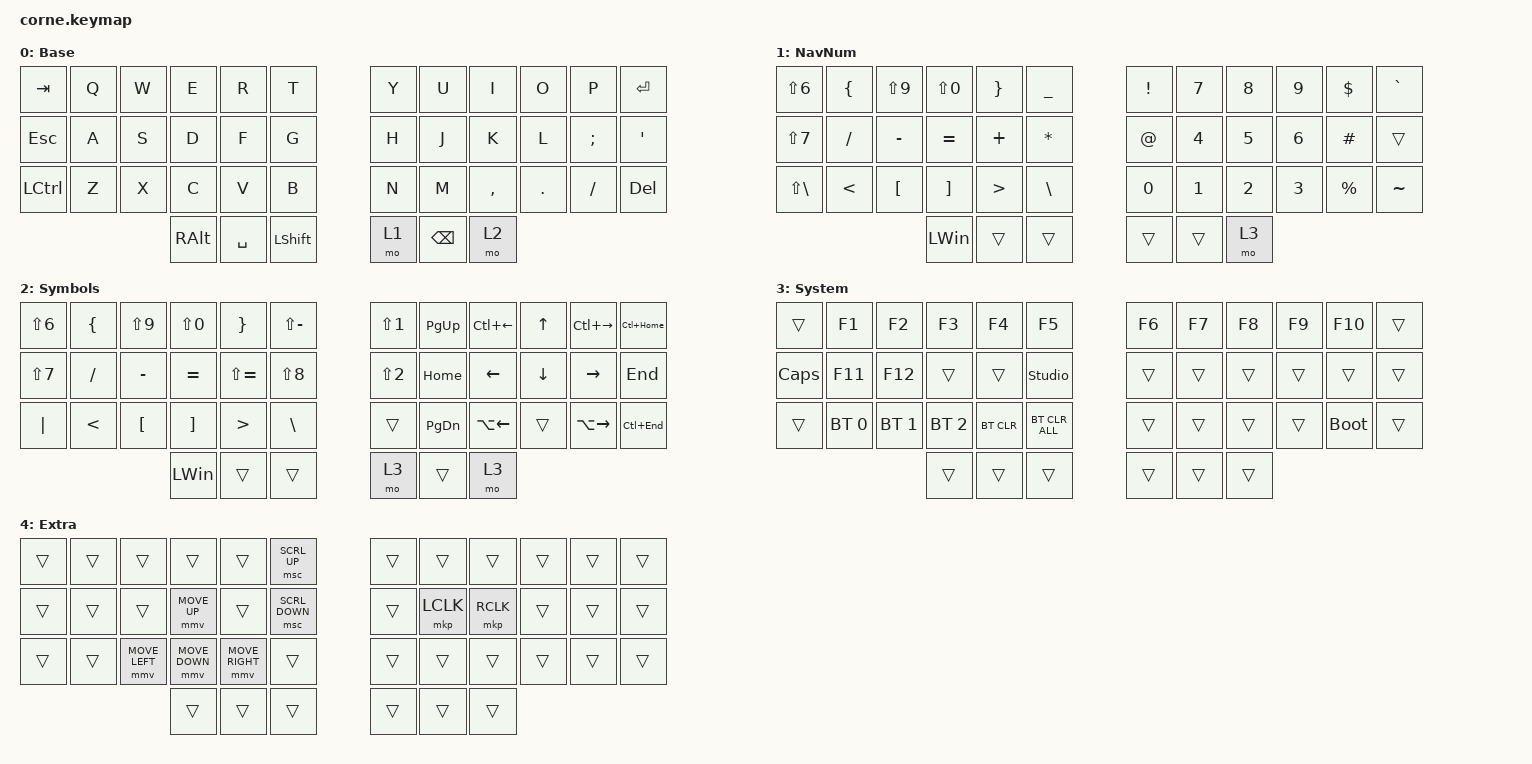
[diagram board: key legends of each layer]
#include <behaviors.dtsi>
#include <dt-bindings/zmk/bt.h>
#include <dt-bindings/zmk/keys.h>
#include <dt-bindings/zmk/pointing.h>

#define DEF 0
#define NAV 1
#define SYM 2
#define ADJ 3
#define EXTRA 4

/ {
    behaviors {
        hm: homerow_mods {
            compatible = "zmk,behavior-hold-tap";
            #binding-cells = <2>;
            tapping-term-ms = <200>;
            flavor = "tap-preferred";
            bindings = <&kp>, <&kp>;

            quick-tap-ms = <180>;
            require-prior-idle-ms = <120>; /* tune to taste */
        };

        para: para {
            compatible = "zmk,behavior-tap-dance";
            #binding-cells = <0>;
            bindings = <&kp LEFT_PARENTHESIS>, <&kp RIGHT_PARENTHESIS>;
        };

        caps: caps {
            compatible = "zmk,behavior-caps-word";
            #binding-cells = <0>;
            continue-list = <MINUS BACKSPACE>;
        };

        paraless: paraless {
            compatible = "zmk,behavior-mod-morph";
            bindings = <&kp LEFT_PARENTHESIS>, <&kp LESS_THAN>;

            #binding-cells = <0>;
            mods = <(MOD_LSFT)>;
        };

        paragreat: paragreat {
            compatible = "zmk,behavior-mod-morph";
            bindings = <&kp RIGHT_PARENTHESIS>, <&kp GREATER_THAN>;

            #binding-cells = <0>;
            mods = <(MOD_LSFT)>;
        };

        hml: homerow_mods_left {
            compatible = "zmk,behavior-hold-tap";
            #binding-cells = <2>;
            tapping-term-ms = <300>;
            flavor = "tap-preferred";
            bindings = <&kp>, <&kp>;

            quick-tap-ms = <180>;
            require-prior-idle-ms = <180>;
            hold-trigger-key-positions = <6 7 8 9 10 11 20 18 19 20 21 22 23 32 30 31 32 33 34 35 39 40 41>;
            #hold-trigger-on-release;
        };

        hmr: homerow_mods_right {
            compatible = "zmk,behavior-hold-tap";
            #binding-cells = <2>;
            tapping-term-ms = <300>;
            flavor = "tap-preferred";
            bindings = <&kp>, <&kp>;

            quick-tap-ms = <180>;
            require-prior-idle-ms = <180>;
            #hold-trigger-on-release;
            hold-trigger-key-positions = <0 1 2 4 5 12 13 14 15 16 17 24 25 26 27 28 29 36 37 38 3>;
        };
    };

    macros {
        browsertab: browsertab {
            compatible = "zmk,behavior-macro";
            #binding-cells = <0>;
            bindings =
                <&macro_press>,
                <&kp LCTRL>,
                <&macro_tap>,
                <&kp TAB>,
                <&macro_release>,
                <&kp LCTRL>;
        };
    };

    combos { compatible = "zmk,combos"; };

    //

    keymap {
        compatible = "zmk,keymap";

        Base {
            display-name = "Base";

            // -----------------------------------------------------------------------------------------
            // |  Q  |  W  |  E  |  R  |  T  |   |  Y  |  U   |  I  |  O  |  P  |
            // |  A  |  S  |  D  |  F  |  G  |   |  H  |  J   |  K  |  L  |  ;  |
            // |  Z  |  X  |  C  |  V  |  B  |   |  N  |  M   |  ,  |  .  |  /  |
            // | GUI | CTRL | SHFT | LWR | SPC |   | ENT | RSE  | BKSP | ALT | ESC |

            bindings = <
&kp TAB     &kp Q  &kp W  &kp E          &kp R      &kp T             &kp Y  &kp U          &kp I      &kp O    &kp P     &kp RETURN
&kp ESCAPE  &kp A  &kp S  &kp D          &kp F      &kp G             &kp H  &kp J          &kp K      &kp L    &kp SEMI  &kp SQT
&kp LCTRL   &kp Z  &kp X  &kp C          &kp V      &kp B             &kp N  &kp M          &kp COMMA  &kp DOT  &kp FSLH  &kp DELETE
                          &kp RIGHT_ALT  &kp SPACE  &kp LEFT_SHIFT    &mo 1  &kp BACKSPACE  &mo 2
            >;
        };

        NavNum {
            display-name = "NavNum";

            // -----------------------------------------------------------------------------------------
            // |  TAB |  1  |  2  |  3  |  4  |  5  |   |  6  |  7  |  8  |  9  |  0  | BKSP |
            // | BTCLR| BT1 | BT2 | BT3 | BT4 | BT5 |   | LFT | DWN |  UP | RGT |     |      |
            // | SHFT |     |     |     |     |     |   |     |     |     |     |     |      |
            // | GUI | CTRL | SHFT | LWR | SPC |   | ENT | RSE  | BKSP | ALT | ESC |

            bindings = <
&kp LS(NUMBER_6)   &kp LEFT_BRACE  &kp LS(N9)        &kp LS(NUMBER_0)   &kp RIGHT_BRACE   &kp UNDERSCORE    &kp EXCLAMATION  &kp NUMBER_7  &kp NUMBER_8  &kp NUMBER_9  &kp DOLLAR   &kp GRAVE
&kp LS(NUMBER_7)   &kp SLASH       &kp MINUS         &kp EQUAL          &kp PLUS          &kp STAR          &kp AT           &kp NUMBER_4  &kp NUMBER_5  &kp NUMBER_6  &kp HASH     &trans
&kp LS(BACKSLASH)  &kp LESS_THAN   &kp LEFT_BRACKET  &kp RIGHT_BRACKET  &kp GREATER_THAN  &kp BACKSLASH     &kp NUMBER_0     &kp NUMBER_1  &kp N2        &kp NUMBER_3  &kp PERCENT  &kp TILDE
                                                     &kp LEFT_WIN       &trans            &trans            &trans           &trans        &mo 3
            >;
        };

        Symbols {
            display-name = "Symbols";

            // -----------------------------------------------------------------------------------------
            // |  TAB |  !  |  @  |  #  |  $  |  %  |   |  ^  |  &  |  *  |  (  |  )  | BKSP |
            // | CTRL |     |     |     |     |     |   |  -  |  =  |  [  |  ]  |  \  |  `   |
            // | SHFT |     |     |     |     |     |   |  _  |  +  |  {  |  }  | "|" |  ~   |
            //                    | GUI |     | SPC |   | ENT |     | ALT |

            bindings = <
&kp LS(NUMBER_6)  &kp LEFT_BRACE  &kp LS(NUMBER_9)  &kp LS(NUMBER_0)   &kp RIGHT_BRACE   &kp LS(MINUS)       &kp LS(NUMBER_1)  &kp PAGE_UP    &kp LC(LEFT_ARROW)  &kp UP_ARROW    &kp LC(RIGHT_ARROW)  &kp LC(HOME)
&kp LS(NUMBER_7)  &kp SLASH       &kp MINUS         &kp EQUAL          &kp LS(EQUAL)     &kp LS(NUMBER_8)    &kp LS(NUMBER_2)  &kp HOME       &kp LEFT_ARROW      &kp DOWN_ARROW  &kp RIGHT            &kp END
&kp PIPE          &kp LESS_THAN   &kp LEFT_BRACKET  &kp RIGHT_BRACKET  &kp GREATER_THAN  &kp BACKSLASH       &trans            &kp PAGE_DOWN  &kp LA(LEFT_ARROW)  &trans          &kp LA(RIGHT_ARROW)  &kp LC(END)
                                                    &kp LEFT_WIN       &trans            &trans              &mo 3             &trans         &mo 3
            >;
        };

        System {
            display-name = "System";
            bindings = <
&trans        &kp F1        &kp F2        &kp F3        &kp F4      &kp F5            &kp F6  &kp F7  &kp F8  &kp F9  &kp F10      &trans
&kp CAPSLOCK  &kp F11       &kp F12       &trans        &trans      &studio_unlock    &trans  &trans  &trans  &trans  &trans       &trans
&trans        &bt BT_SEL 0  &bt BT_SEL 1  &bt BT_SEL 2  &bt BT_CLR  &bt BT_CLR_ALL    &trans  &trans  &trans  &trans  &bootloader  &trans
                                          &trans        &trans      &trans            &trans  &trans  &trans
            >;
        };

        Extra {
            display-name = "Extra";
            bindings = <
&trans  &trans  &trans          &trans          &trans           &msc SCRL_UP      &trans  &trans     &trans     &trans  &trans  &trans
&trans  &trans  &trans          &mmv MOVE_UP    &trans           &msc SCRL_DOWN    &trans  &mkp LCLK  &mkp RCLK  &trans  &trans  &trans
&trans  &trans  &mmv MOVE_LEFT  &mmv MOVE_DOWN  &mmv MOVE_RIGHT  &trans            &trans  &trans     &trans     &trans  &trans  &trans
                                &trans          &trans           &trans            &trans  &trans     &trans
            >;
        };
    };
};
